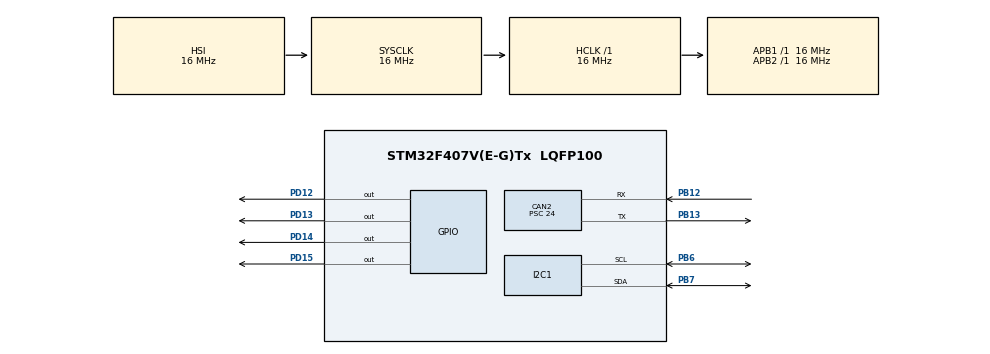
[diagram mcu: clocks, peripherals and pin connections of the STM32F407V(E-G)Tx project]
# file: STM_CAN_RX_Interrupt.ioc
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CAN2.BS1=CAN_BS1_13TQ
CAN2.BS2=CAN_BS2_2TQ
CAN2.CalculateBaudRate=41666
CAN2.CalculateTimeBit=24000
CAN2.CalculateTimeQuantum=1500.0
CAN2.Prescaler=24
Mcu.Family=STM32F4
Mcu.Name=STM32F407V(E-G)Tx
Mcu.Package=LQFP100
NVIC.CAN2_RX0_IRQn=true\:0\:0\:false\:false\:true\:true\:true\:true
NVIC.PriorityGroup=NVIC_PRIORITYGROUP_4
PA13.Mode=Serial_Wire
PA13.Signal=SYS_JTMS-SWDIO
PA14.Mode=Serial_Wire
PA14.Signal=SYS_JTCK-SWCLK
PB12.Mode=CAN_Activate
PB12.Signal=CAN2_RX
PB13.Mode=CAN_Activate
PB13.Signal=CAN2_TX
PB6.Mode=I2C
PB6.Signal=I2C1_SCL
PB7.Mode=I2C
PB7.Signal=I2C1_SDA
PD12.Signal=GPIO_Output
PD13.Signal=GPIO_Output
PD14.Signal=GPIO_Output
PD15.Signal=GPIO_Output
ProjectManager.HeapSize=0x200
ProjectManager.StackSize=0x400
ProjectManager.TargetToolchain=STM32CubeIDE
RCC.AHBFreq_Value=16000000
RCC.APB1Freq_Value=16000000
RCC.APB2Freq_Value=16000000
RCC.CortexFreq_Value=16000000
RCC.HSE_VALUE=25000000
RCC.HSI_VALUE=16000000
RCC.LSE_VALUE=32768
RCC.SYSCLKFreq_VALUE=16000000
RCC.VCOOutputFreq_Value=192000000
board=custom

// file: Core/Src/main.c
/* USER CODE BEGIN Header */
/**
-----------------------------------------------------------------------------
CODE: receiving distance with CAN (front, rear) and displaying on LCD and controlling Buzzer
Date: 05-08-2024
--------------------------------------------------------------------------
  ******************************************************************************
  * @file           : main.c
  * @brief          : Main program body
  ******************************************************************************
  * @attention
  *
  * Copyright (c) 2024 STMicroelectronics.
  * All rights reserved.
  *
  * This software is licensed under terms that can be found in the LICENSE file
  * in the root directory of this software component.
  * If no LICENSE file comes with this software, it is provided AS-IS.

  ******************************************************************************
  */
/* USER CODE END Header */
#include "main.h"

/* USER CODE BEGIN Includes */

#include <stdio.h>
#include <string.h>
#include<math.h>
#include<stdlib.h>
#include<lcd_i2c.h>
/* USER CODE END Includes */

CAN_HandleTypeDef hcan2;

I2C_HandleTypeDef hi2c1;

/* USER CODE BEGIN PV */

uint8_t distance_message[8];
float rcvd_distance_front;
float rcvd_distance_rear;
uint32_t min_distance;
extern I2C_HandleTypeDef hi2c1;
uint32_t period;

/* USER CODE END PV */

void SystemClock_Config(void);
static void MX_GPIO_Init(void);
static void MX_CAN2_Init(void);
static void MX_I2C1_Init(void);
void LCD_Init(void);
/* USER CODE BEGIN PFP */

/* Private function prototypes -----------------------------------------------*/

void SystemClock_Config(void);
static void MX_GPIO_Init(void);
static void MX_CAN2_Init(void);
void CAN_Filter_Config(void);
void setBuzzerFrequency(int distance);
void Error_Handler(void);
void displayDistances(int frontDistance, int rearDistance) ;

/* USER CODE END PFP */

int main(void)
{

  /* MCU Configuration--------------------------------------------------------*/

  /* Reset of all peripherals, Initializes the Flash interface and the Systick. */
  HAL_Init();

  /* Configure the system clock */
  SystemClock_Config();

  /* Initialize all configured peripherals */
  MX_GPIO_Init();
  MX_CAN2_Init();
  MX_I2C1_Init();
  LCD_Init();
  /* USER CODE BEGIN 2 */

  CAN_Filter_Config();

  if(HAL_CAN_Start(&hcan2) != HAL_OK)
  {
    Error_Handler();
  }

  HAL_CAN_ActivateNotification(&hcan2, CAN_IT_RX_FIFO0_MSG_PENDING);

 // HAL_TIM_PWM_Start(&htim4,TIM_CHANNEL_1);

 // HAL_TIM_Base_Start(&htim2);  // Start the timer

  /* USER CODE END 2 */

  /* Infinite loop */
  /* USER CODE BEGIN WHILE */

  while (1)
  {
	  min_distance = fmin(rcvd_distance_front,rcvd_distance_rear);
	  setBuzzerFrequency(min_distance);
	  displayDistances(rcvd_distance_front,rcvd_distance_rear);
	  HAL_Delay(80);            // Wait for 80 ms
  }

    /* USER CODE END WHILE */

}

void SystemClock_Config(void)
{
  RCC_OscInitTypeDef RCC_OscInitStruct = {0};
  RCC_ClkInitTypeDef RCC_ClkInitStruct = {0};

  /** Configure the main internal regulator output voltage
  */
  __HAL_RCC_PWR_CLK_ENABLE();
  __HAL_PWR_VOLTAGESCALING_CONFIG(PWR_REGULATOR_VOLTAGE_SCALE1);

  /** Initializes the RCC Oscillators according to the specified parameters
  * in the RCC_OscInitTypeDef structure.
  */
  RCC_OscInitStruct.OscillatorType = RCC_OSCILLATORTYPE_HSI;
  RCC_OscInitStruct.HSIState = RCC_HSI_ON;
  RCC_OscInitStruct.HSICalibrationValue = RCC_HSICALIBRATION_DEFAULT;
  RCC_OscInitStruct.PLL.PLLState = RCC_PLL_NONE;
  if (HAL_RCC_OscConfig(&RCC_OscInitStruct) != HAL_OK)
  {
    Error_Handler();
  }

  /** Initializes the CPU, AHB and APB buses clocks
  */
  RCC_ClkInitStruct.ClockType = RCC_CLOCKTYPE_HCLK|RCC_CLOCKTYPE_SYSCLK
                              |RCC_CLOCKTYPE_PCLK1|RCC_CLOCKTYPE_PCLK2;
  RCC_ClkInitStruct.SYSCLKSource = RCC_SYSCLKSOURCE_HSI;
  RCC_ClkInitStruct.AHBCLKDivider = RCC_SYSCLK_DIV1;
  RCC_ClkInitStruct.APB1CLKDivider = RCC_HCLK_DIV1;
  RCC_ClkInitStruct.APB2CLKDivider = RCC_HCLK_DIV1;

  if (HAL_RCC_ClockConfig(&RCC_ClkInitStruct, FLASH_LATENCY_0) != HAL_OK)
  {
    Error_Handler();
  }
}

static void MX_CAN2_Init(void)
{

  hcan2.Instance = CAN2;
  hcan2.Init.Prescaler = 24;
  hcan2.Init.Mode = CAN_MODE_NORMAL;
  hcan2.Init.SyncJumpWidth = CAN_SJW_1TQ;
  hcan2.Init.TimeSeg1 = CAN_BS1_13TQ;
  hcan2.Init.TimeSeg2 = CAN_BS2_2TQ;
  hcan2.Init.TimeTriggeredMode = DISABLE;
  hcan2.Init.AutoBusOff = DISABLE;
  hcan2.Init.AutoWakeUp = DISABLE;
  hcan2.Init.AutoRetransmission = DISABLE;
  hcan2.Init.ReceiveFifoLocked = DISABLE;
  hcan2.Init.TransmitFifoPriority = DISABLE;
  if (HAL_CAN_Init(&hcan2) != HAL_OK)
  {
    Error_Handler();
  }

}

static void MX_I2C1_Init(void)
{

  hi2c1.Instance = I2C1;
  hi2c1.Init.ClockSpeed = 100000;
  hi2c1.Init.DutyCycle = I2C_DUTYCYCLE_2;
  hi2c1.Init.OwnAddress1 = 0;
  hi2c1.Init.AddressingMode = I2C_ADDRESSINGMODE_7BIT;
  hi2c1.Init.DualAddressMode = I2C_DUALADDRESS_DISABLE;
  hi2c1.Init.OwnAddress2 = 0;
  hi2c1.Init.GeneralCallMode = I2C_GENERALCALL_DISABLE;
  hi2c1.Init.NoStretchMode = I2C_NOSTRETCH_DISABLE;
  if (HAL_I2C_Init(&hi2c1) != HAL_OK)
  {
    Error_Handler();
  }

}

static void MX_GPIO_Init(void)
{
  GPIO_InitTypeDef GPIO_InitStruct = {0};

  /* GPIO Ports Clock Enable */
  __HAL_RCC_GPIOB_CLK_ENABLE();
  __HAL_RCC_GPIOD_CLK_ENABLE();
  __HAL_RCC_GPIOA_CLK_ENABLE();

  /*Configure GPIO pin Output Level */
  HAL_GPIO_WritePin(GPIOD, GPIO_PIN_12, GPIO_PIN_RESET);

  /*Configure GPIO pin : PD12 */
  GPIO_InitStruct.Pin = GPIO_PIN_12;
  GPIO_InitStruct.Mode = GPIO_MODE_OUTPUT_PP;
  GPIO_InitStruct.Pull = GPIO_NOPULL;
  GPIO_InitStruct.Speed = GPIO_SPEED_FREQ_LOW;
  HAL_GPIO_Init(GPIOD, &GPIO_InitStruct);

}

/* USER CODE BEGIN 4 */
void LCD_Init(void)
{
	lcd_init();
}

/**
  * @brief This function configures the CAN filter
  * @retval None
  */
void CAN_Filter_Config(void)
{
  CAN_FilterTypeDef can2_filter_init;
  can2_filter_init.FilterActivation = ENABLE;
  can2_filter_init.FilterBank = 14;
  can2_filter_init.FilterFIFOAssignment = CAN_RX_FIFO0;
  can2_filter_init.FilterIdHigh = 0x0000;
  can2_filter_init.FilterIdLow = 0x0000;
  can2_filter_init.FilterMaskIdHigh = 0x0000;
  can2_filter_init.FilterMaskIdLow = 0x0000;
  can2_filter_init.FilterMode = CAN_FILTERMODE_IDMASK;
  can2_filter_init.FilterScale = CAN_FILTERSCALE_32BIT;
  can2_filter_init.SlaveStartFilterBank=14;
  if(HAL_CAN_ConfigFilter(&hcan2, &can2_filter_init) != HAL_OK)
  {
    Error_Handler();
  }

}

/**
  * @brief This function receives a CAN message
  * @retval None
  */

void HAL_CAN_RxFifo0MsgPendingCallback(CAN_HandleTypeDef *hcan)
{
    CAN_RxHeaderTypeDef RxHeader;
    uint8_t RxData[8];

    if (hcan->Instance == CAN2)
    {
        /* Receive CAN message */
        if (HAL_CAN_GetRxMessage(hcan, CAN_RX_FIFO0, &RxHeader, RxData) != HAL_OK)
        {
            /* Reception Error */
            Error_Handler();
        }
        /* Extracting front and rear distance from received CAN buffer into rcvd_distance_front and rcvd_distance_rear variable */
    	memcpy(&rcvd_distance_front,&RxData[0],sizeof(float));
    	memcpy(&rcvd_distance_rear,&RxData[4],sizeof(float));
    }
}
/* In this part of the code, the buzzer is controlled based on the min_distance value.
 * The delay duration (period) is calculated by multiplying the min_distance by 5.
 * This means that the closer the object, the shorter the delay, resulting in faster buzzing. */
void setBuzzerFrequency(int distance)
{
	if(distance<30)
	{
		HAL_GPIO_WritePin(GPIOD, GPIO_PIN_12, SET);
		period=(5 * distance);
		HAL_Delay(period);
		HAL_GPIO_WritePin(GPIOD, GPIO_PIN_12, RESET);
		HAL_Delay(period);
	}
	else
		HAL_GPIO_WritePin(GPIOD, GPIO_PIN_12, RESET);
}

/* Display the received data to LCD */
void displayDistances(int frontDistance, int rearDistance)
{
    char buffer[20];
    lcd_clear();
    lcd_put_cur(0, 0);
    sprintf(buffer, "Front Distance:");
    lcd_send_string(buffer);

    /* Display front Distance */
    lcd_put_cur(1, 0);
    sprintf(buffer, "%d cm", frontDistance);
    lcd_send_string(buffer);

    lcd_put_cur(2, 0);
    sprintf(buffer, "Rear Distance:");
    lcd_send_string(buffer);

    /* Display rear Distance */
    lcd_put_cur(3, 0);
    sprintf(buffer, "%d cm", rearDistance);
    lcd_send_string(buffer);
}

/* USER CODE END 4 */

void Error_Handler(void)
{
  __disable_irq();
  while (1)
  {
  }
}
